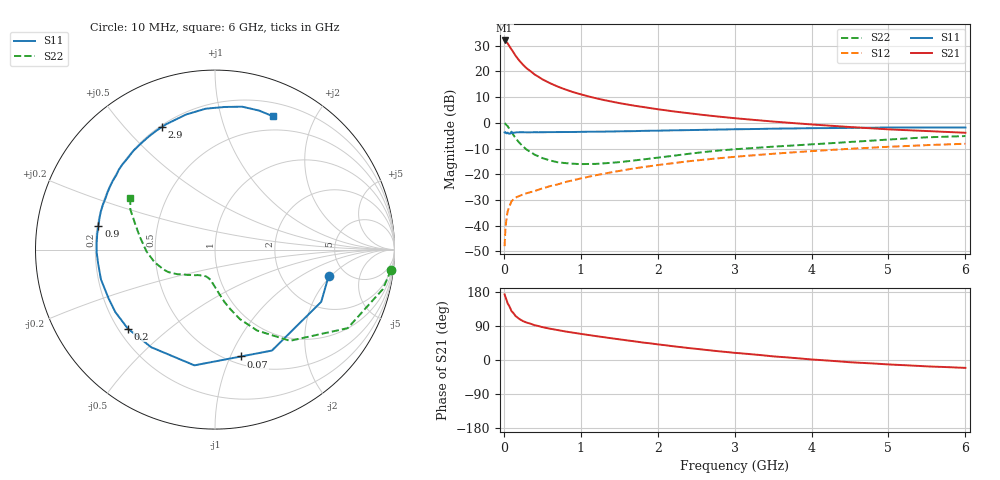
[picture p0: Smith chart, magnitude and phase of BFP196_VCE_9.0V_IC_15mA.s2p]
! Infineon Technologies  Discrete & RF Semiconductors
! BFP196
! VCE =  9.0 V,  IC =  15 mA
! Common Emitter S-Parameters:  Jan 2017
# GHz  S  MA  R  50
!  f  S11  S21  S12  S22
! GHz  MAG  ANG  MAG  ANG  MAG  ANG  MAG  ANG
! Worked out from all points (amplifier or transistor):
!   77 points, 10 MHz to 6 GHz, reference 50 ohm
!   highest |S21| = 32.0 dB at 10 MHz (marker M1)
!   |S21| within 3 dB of that: start of sweep to 88.62 MHz
!   unconditionally stable (mu >= 1): 889.2 MHz to 2.343 GHz
!   at 130 MHz: K = 0.30, MSG = 28.4 dB, |S12| = -29.7 dB
!   at 2.2 GHz: K = 1.01, MAG = 9.4 dB, |S12| = -15.7 dB
!   at 6 GHz: K = 0.91, MSG = 2.1 dB, |S12| = -8.1 dB
!   S11 on the Smith chart (normalised r, x): 10 MHz: 3.67, -1.90; 70 MHz: 0.57, -1.10; 200 MHz: 0.24, -0.37; 900 MHz: 0.20, +0.10; 2.9 GHz: 0.21, +0.63; 6 GHz: 0.34, +1.47
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0.01  0.65 -13.3  39.86 173.1  0.004 81.9  0.9874 -6.6
0.02  0.6595 -26.2  39.53 166.7  0.0085 79.6  0.9605 -13.3
0.05  0.6458 -60.6  34.95 149.1  0.0191 63.4  0.8594 -30.6
0.07  0.6127 -76.4  31.2 142.3  0.0233 57.5  0.7682 -37.3
0.1  0.655 -100.1  26.69 128.9  0.0298 51.9  0.6578 -50.6
0.15  0.6498 -123.2  20.36 116.6  0.0351 45.1  0.5084 -62.5
0.2  0.6556 -137.8  16.24 108.5  0.0377 42.3  0.4124 -70.2
0.25  0.6555 -148.0  13.38 102.5  0.0405 41.4  0.3457 -75.3
0.3  0.6523 -155.1  11.34 98.5  0.0429 42.2  0.2985 -79.6
0.4  0.6568 -165.3  8.693 91.8  0.0471 44.3  0.2404 -85.4
0.5  0.6557 -172.8  7.012 86.8  0.053 46.5  0.2065 -90.3
0.6  0.6595 -178.7  5.89 82.6  0.0587 48.5  0.1853 -94.6
0.7  0.6602 176.8  5.06 79.0  0.0635 50.9  0.1709 -98.1
0.9  0.6628 168.5  3.951 72.1  0.0766 53.0  0.1602 -105.1
1.1  0.6705 161.6  3.261 66.0  0.0893 54.6  0.1585 -111.7
1.5  0.6824 149.0  2.416 54.6  0.116 54.7  0.172 -124.4
2.1  0.7077 132.1  1.752 38.9  0.1575 51.2  0.219 -140.5
2.9  0.744 113.6  1.272 21.0  0.2115 43.8  0.2975 -156.6
3.1  0.7517 109.6  1.193 17.3  0.2243 41.7  0.313 -160.7
4.1  0.7876 92.2  0.908 0.1  0.2876 31.0  0.3889 179.1
5.1  0.81 77.8  0.735 -12.7  0.3466 19.4  0.4822 159.8
6  0.8097 66.5  0.64 -20.8  0.3921 8.9  0.5524 148.8
